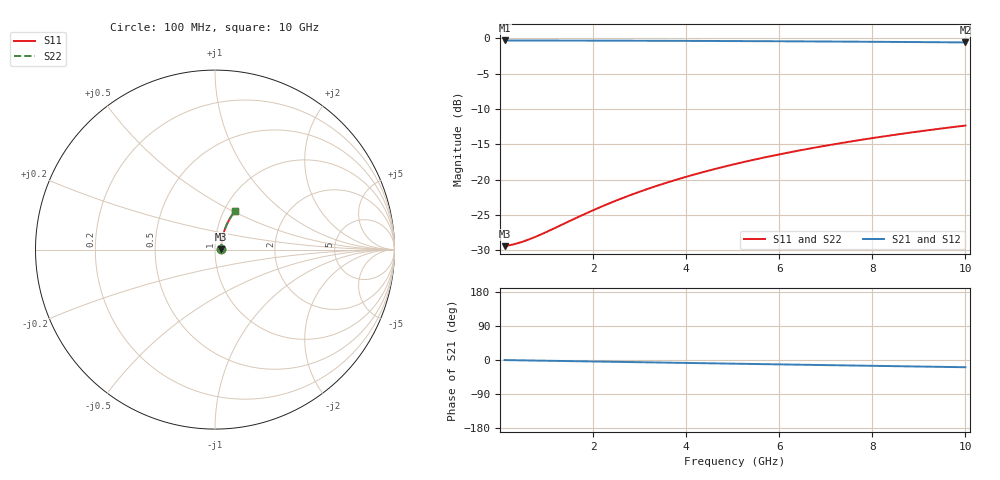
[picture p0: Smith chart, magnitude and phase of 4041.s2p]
# Hz S RI R 50.00
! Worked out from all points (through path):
!   100 points, 100 MHz to 10 GHz, reference 50 ohm
!   highest |S21| = -0.30 dB at 100 MHz (marker M1); lowest = -0.6 dB at 10 GHz (marker M2)
!   group delay of S21, straight-line fit = 5.3 ps
!   lowest |S11| = -29.4 dB at 100 MHz (marker M3), VSWR 1.07, Z = 53.5 + j0.253 ohm
!   |S11| at or under -10 dB: start of sweep to end of sweep
!   |S22| runs from -29.4 to -12.3 dB; largest |S21 - S12| = 0
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1e8  0.0337 0.00237  0.9663 -0.00328  0.9663 -0.00328  0.0337 0.00237
3e8  0.0342 0.00709  0.9658 -0.00982  0.9658 -0.00982  0.0342 0.00709
4e8  0.0343 0.00945  0.9657 -0.0131  0.9657 -0.0131  0.0343 0.00945
5e8  0.0345 0.0118  0.9655 -0.0164  0.9655 -0.0164  0.0345 0.0118
7e8  0.0349 0.0165  0.9651 -0.0229  0.9651 -0.0229  0.0349 0.0165
1e9  0.0355 0.0236  0.9644 -0.0327  0.9644 -0.0327  0.0355 0.0236
1.8e9  0.0377 0.0423  0.9622 -0.0587  0.9622 -0.0587  0.0377 0.0423
2.2e9  0.0391 0.0516  0.9607 -0.0716  0.9607 -0.0716  0.0391 0.0516
2.6e9  0.0408 0.0609  0.9589 -0.0846  0.9589 -0.0846  0.0408 0.0609
3e9  0.0427 0.0701  0.9569 -0.0974  0.9569 -0.0974  0.0427 0.0701
3.4e9  0.0448 0.0792  0.9547 -0.1102  0.9547 -0.1102  0.0448 0.0792
3.8e9  0.0472 0.0883  0.9522 -0.1229  0.9522 -0.1229  0.0472 0.0883
4.2e9  0.0497 0.0973  0.9495 -0.1355  0.9495 -0.1355  0.0497 0.0973
4.6e9  0.0526 0.1062  0.9465 -0.1481  0.9465 -0.1481  0.0526 0.1062
5.1e9  0.0564 0.1171  0.9424 -0.1636  0.9424 -0.1636  0.0564 0.1171
5.5e9  0.0598 0.1258  0.9389 -0.1759  0.9389 -0.1759  0.0598 0.1258
5.9e9  0.0633 0.1344  0.9352 -0.1881  0.9352 -0.1881  0.0633 0.1344
6.7e9  0.0711 0.1511  0.927 -0.2122  0.927 -0.2122  0.0711 0.1511
7.5e9  0.0796 0.1673  0.9179 -0.2358  0.9179 -0.2358  0.0796 0.1673
8.4e9  0.0902 0.1849  0.9067 -0.2616  0.9067 -0.2616  0.0902 0.1849
9.2e9  0.1004 0.1999  0.8959 -0.284  0.8959 -0.284  0.1004 0.1999
1e10  0.1113 0.2142  0.8844 -0.3057  0.8844 -0.3057  0.1113 0.2142
